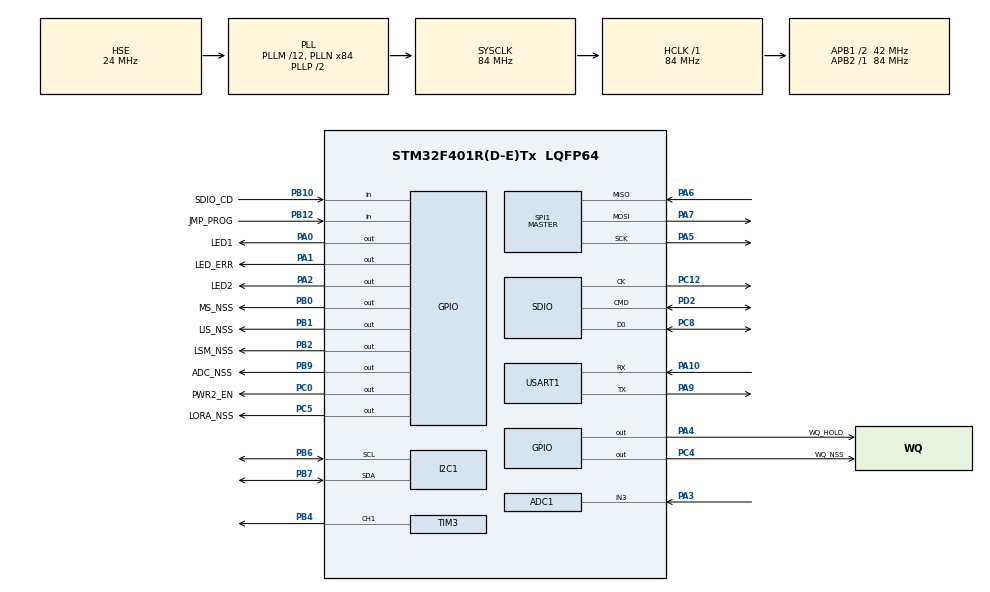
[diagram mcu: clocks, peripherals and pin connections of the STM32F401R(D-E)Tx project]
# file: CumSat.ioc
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ADC1.Channel-0\#ChannelRegularConversion=ADC_CHANNEL_3
ADC1.ContinuousConvMode=DISABLE
ADC1.NbrOfConversionFlag=1
ADC1.Rank-0\#ChannelRegularConversion=1
ADC1.Resolution=ADC_RESOLUTION_8B
ADC1.SamplingTime-0\#ChannelRegularConversion=ADC_SAMPLETIME_3CYCLES
ADC1.master=1
Dma.Request0=SDIO_RX
Dma.Request1=SDIO_TX
Dma.SDIO_RX.0.Direction=DMA_PERIPH_TO_MEMORY
Dma.SDIO_RX.0.FIFOMode=DMA_FIFOMODE_ENABLE
Dma.SDIO_RX.0.FIFOThreshold=DMA_FIFO_THRESHOLD_FULL
Dma.SDIO_RX.0.Instance=DMA2_Stream3
Dma.SDIO_RX.0.MemBurst=DMA_MBURST_INC4
Dma.SDIO_RX.0.MemDataAlignment=DMA_MDATAALIGN_WORD
Dma.SDIO_RX.0.MemInc=DMA_MINC_ENABLE
Dma.SDIO_RX.0.Mode=DMA_PFCTRL
Dma.SDIO_RX.0.PeriphBurst=DMA_PBURST_INC4
Dma.SDIO_RX.0.PeriphDataAlignment=DMA_PDATAALIGN_WORD
Dma.SDIO_RX.0.PeriphInc=DMA_PINC_DISABLE
Dma.SDIO_RX.0.Priority=DMA_PRIORITY_LOW
Dma.SDIO_TX.1.Direction=DMA_MEMORY_TO_PERIPH
Dma.SDIO_TX.1.FIFOMode=DMA_FIFOMODE_ENABLE
Dma.SDIO_TX.1.FIFOThreshold=DMA_FIFO_THRESHOLD_FULL
Dma.SDIO_TX.1.Instance=DMA2_Stream6
Dma.SDIO_TX.1.MemBurst=DMA_MBURST_INC4
Dma.SDIO_TX.1.MemDataAlignment=DMA_MDATAALIGN_WORD
Dma.SDIO_TX.1.MemInc=DMA_MINC_ENABLE
Dma.SDIO_TX.1.Mode=DMA_PFCTRL
Dma.SDIO_TX.1.PeriphBurst=DMA_PBURST_INC4
Dma.SDIO_TX.1.PeriphDataAlignment=DMA_PDATAALIGN_WORD
Dma.SDIO_TX.1.PeriphInc=DMA_PINC_DISABLE
Dma.SDIO_TX.1.Priority=DMA_PRIORITY_LOW
FATFS.BSP.number=1
FATFS.USE_DMA_CODE_SD=1
FATFS._FS_TIMEOUT=1000
FATFS0.BSP.STBoard=false
FATFS0.BSP.api=Unknown
FATFS0.BSP.instance=PB10
FATFS0.BSP.ip=GPIO
FATFS0.BSP.mode=Input
FATFS0.BSP.name=Detect_SDIO
FATFS0.BSP.solution=PB10
Mcu.Family=STM32F4
Mcu.Name=STM32F401R(D-E)Tx
Mcu.Package=LQFP64
NVIC.DMA2_Stream3_IRQn=true\:0\:0\:false\:false\:true\:false\:true\:true
NVIC.DMA2_Stream6_IRQn=true\:0\:0\:false\:false\:true\:false\:true\:true
NVIC.PriorityGroup=NVIC_PRIORITYGROUP_4
NVIC.SDIO_IRQn=true\:0\:0\:false\:false\:true\:true\:true\:true
NVIC.TIM1_TRG_COM_TIM11_IRQn=true\:0\:0\:false\:false\:true\:true\:true\:true
PA0-WKUP.GPIO_Label=LED1
PA0-WKUP.PinState=GPIO_PIN_RESET
PA0-WKUP.Signal=GPIO_Output
PA1.GPIO_Label=LED_ERR
PA1.Signal=GPIO_Output
PA10.Mode=Asynchronous
PA10.Signal=USART1_RX
PA2.GPIO_Label=LED2
PA2.Signal=GPIO_Output
PA3.Signal=ADCx_IN3
PA4.GPIO_Label=WQ_HOLD
PA4.PinState=GPIO_PIN_SET
PA4.Signal=GPIO_Output
PA5.Mode=Full_Duplex_Master
PA5.Signal=SPI1_SCK
PA6.Mode=Full_Duplex_Master
PA6.Signal=SPI1_MISO
PA7.Mode=Full_Duplex_Master
PA7.Signal=SPI1_MOSI
PA9.Mode=Asynchronous
PA9.Signal=USART1_TX
PB0.GPIO_Label=MS_NSS
PB0.GPIO_Speed=GPIO_SPEED_FREQ_VERY_HIGH
PB0.PinState=GPIO_PIN_SET
PB0.Signal=GPIO_Output
PB1.GPIO_Label=LIS_NSS
PB1.GPIO_Speed=GPIO_SPEED_FREQ_VERY_HIGH
PB1.PinState=GPIO_PIN_SET
PB1.Signal=GPIO_Output
PB10.GPIO_Label=SDIO_CD
PB10.Signal=GPIO_Input
PB12.GPIO_Label=JMP_PROG
PB12.Signal=GPIO_Input
PB2.GPIO_Label=LSM_NSS
PB2.GPIO_Speed=GPIO_SPEED_FREQ_VERY_HIGH
PB2.PinState=GPIO_PIN_SET
PB2.Signal=GPIO_Output
PB4.Signal=S_TIM3_CH1
PB6.Mode=I2C
PB6.Signal=I2C1_SCL
PB7.Mode=I2C
PB7.Signal=I2C1_SDA
PB9.GPIO_Label=ADC_NSS
PB9.GPIO_Speed=GPIO_SPEED_FREQ_VERY_HIGH
PB9.PinState=GPIO_PIN_SET
PB9.Signal=GPIO_Output
PC0.GPIO_Label=PWR2_EN
PC0.PinState=GPIO_PIN_SET
PC0.Signal=GPIO_Output
PC12.Mode=SD_1_bit
PC12.Signal=SDIO_CK
PC14-OSC32_IN.Mode=LSE-External-Oscillator
PC14-OSC32_IN.Signal=RCC_OSC32_IN
PC15-OSC32_OUT.Mode=LSE-External-Oscillator
PC15-OSC32_OUT.Signal=RCC_OSC32_OUT
PC4.GPIO_Label=WQ_NSS
PC4.GPIO_Speed=GPIO_SPEED_FREQ_VERY_HIGH
PC4.PinState=GPIO_PIN_SET
PC4.Signal=GPIO_Output
PC5.GPIO_Label=LORA_NSS
PC5.GPIO_Speed=GPIO_SPEED_FREQ_VERY_HIGH
PC5.PinState=GPIO_PIN_SET
PC5.Signal=GPIO_Output
PC8.GPIO_PuPd=GPIO_PULLUP
PC8.Mode=SD_1_bit
PC8.Signal=SDIO_D0
PD2.GPIO_PuPd=GPIO_PULLUP
PD2.Mode=SD_1_bit
PD2.Signal=SDIO_CMD
PH0\ -\ OSC_IN.Mode=HSE-External-Oscillator
PH0\ -\ OSC_IN.Signal=RCC_OSC_IN
PH1\ -\ OSC_OUT.Mode=HSE-External-Oscillator
PH1\ -\ OSC_OUT.Signal=RCC_OSC_OUT
ProjectManager.HeapSize=0x200
ProjectManager.StackSize=0x400
ProjectManager.TargetToolchain=STM32CubeIDE
RCC.48MHZClocksFreq_Value=42000000
RCC.AHBFreq_Value=84000000
RCC.APB1CLKDivider=RCC_HCLK_DIV2
RCC.APB1Freq_Value=42000000
RCC.APB1TimFreq_Value=84000000
RCC.APB2Freq_Value=84000000
RCC.APB2TimFreq_Value=84000000
RCC.CortexFreq_Value=84000000
RCC.HCLKFreq_Value=84000000
RCC.HSE_VALUE=24000000
RCC.HSI_VALUE=16000000
RCC.PLLM=12
RCC.PLLN=84
RCC.PLLSourceVirtual=RCC_PLLSOURCE_HSE
RCC.SYSCLKFreq_VALUE=84000000
RCC.SYSCLKSource=RCC_SYSCLKSOURCE_PLLCLK
RCC.VCOOutputFreq_Value=168000000
SDIO.ClockDiv=6
SDIO.HardwareFlowControl=SDIO_HARDWARE_FLOW_CONTROL_ENABLE
SH.ADCx_IN3.0=ADC1_IN3,IN3
SH.S_TIM3_CH1.0=TIM3_CH1,PWM Generation1 CH1
SPI1.BaudRatePrescaler=SPI_BAUDRATEPRESCALER_16
SPI1.CLKPhase=SPI_PHASE_1EDGE
SPI1.Direction=SPI_DIRECTION_2LINES
SPI1.Mode=SPI_MODE_MASTER
SPI1.VirtualType=VM_MASTER
TIM11.Period=30000
TIM11.Prescaler=8399
TIM3.Channel-PWM\ Generation1\ CH1=TIM_CHANNEL_1
TIM3.Period=999
TIM3.Prescaler=1679
USART1.VirtualMode=VM_ASYNC
VP_FATFS_VS_SDIO.Mode=SDIO
VP_TIM11_VS_ClockSourceINT.Mode=Enable_Timer
VP_TIM11_VS_OPM.Mode=OPM_bit
VP_TIM3_VS_ClockSourceINT.Mode=Internal
board=custom

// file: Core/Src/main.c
/* USER CODE BEGIN Header */
/**
 ******************************************************************************
 * @file           : main.c
 * @brief          : Main program body
 ******************************************************************************
 * @attention
 *
 * Copyright (c) 2024 STMicroelectronics.
 * All rights reserved.
 *
 * This software is licensed under terms that can be found in the LICENSE file
 * in the root directory of this software component.
 * If no LICENSE file comes with this software, it is provided AS-IS.
 *
 ******************************************************************************
 */
/* USER CODE END Header */
#include "main.h"
#include "fatfs.h"

/* USER CODE BEGIN Includes */
#include "MS5611.h"
#include "LIS3.h"
#include "LSM6.h"
#include "LoRa.h"
#include "MicroSD.h"
#include "WQ.h"
#include "Servo.h"
#include "CircularBuffer.h"
#include <math.h>
/* USER CODE END Includes */

ADC_HandleTypeDef hadc1;

I2C_HandleTypeDef hi2c1;

SD_HandleTypeDef hsd;
DMA_HandleTypeDef hdma_sdio_rx;
DMA_HandleTypeDef hdma_sdio_tx;

SPI_HandleTypeDef hspi1;

TIM_HandleTypeDef htim3;
TIM_HandleTypeDef htim11;

UART_HandleTypeDef huart1;

/* USER CODE BEGIN PV */
struct ImuData {
	uint32_t time; //millis from start
	int32_t temp; //MS56 temperature, centigrade*10e2
	uint32_t press; //MS56 pressure, Pa
	float magData[3]; //LIS3 mag, mG
	float accelData[3]; //LSM6, mG
	float gyroData[3]; //LSM6, mdps
	int32_t altitude; //Altitude (zero at start), cm
	uint32_t flags; //Flags, (0|0|0|0|Land|ResSys|Eject|Start)
	uint32_t press0; //MS56 pressure at 0 Alt, Pa
	float vectAbs; //Absolute value of accel vector
	uint32_t wqAdr;
} imuData;

enum states {
	INIT, LORA_WAIT, MAIN, LANDING, DUMP
};

enum states lastState = LANDING;
enum states currentState = INIT;
CircularBuffer *cbPress;
/* USER CODE END PV */

void SystemClock_Config(void);
static void MX_GPIO_Init(void);
static void MX_DMA_Init(void);
static void MX_I2C1_Init(void);
static void MX_SPI1_Init(void);
static void MX_USART1_UART_Init(void);
static void MX_ADC1_Init(void);
static void MX_SDIO_SD_Init(void);
static void MX_TIM3_Init(void);
static void MX_TIM11_Init(void);
/* USER CODE BEGIN PFP */
void StoreVectAbs(struct ImuData *dat);
void ImuGetAll(struct ImuData *imuData);
void ImuSaveAll(struct ImuData *imuData);
void FlashLED(uint16_t led);
void Error(uint8_t errorCode);
/* USER CODE END PFP */

/* USER CODE BEGIN 0 */

void init_state(){
	static uint8_t errorCode = 0;
	HAL_Delay(1000);
	if(currentState != lastState) {
		lastState = currentState;
		if(!MS5611_Init(&hspi1, MS_NSS_GPIO_Port, MS_NSS_Pin)) errorCode = 1;
		if(!LIS3_Init(&hspi1, LIS_NSS_GPIO_Port, LIS_NSS_Pin)) errorCode = 2;
		if(!LSM6_Init(&hspi1, LSM_NSS_GPIO_Port, LSM_NSS_Pin)) errorCode = 3;
		if(!LoRa_Init(&hspi1, LORA_NSS_GPIO_Port, LORA_NSS_Pin)) errorCode = 4;
		if(!microSD_Init()) errorCode = 5;
		if(!WQ_Init(&hspi1, WQ_NSS_GPIO_Port, WQ_NSS_Pin)) errorCode = 6;
		Servo_Init(&htim3, TIM_CHANNEL_1);
		HAL_TIM_Base_Start_IT(&htim11);
		if(!errorCode) { //POST_OK (DOT)
			MS5611_SetOS(MS56_OSR_4096, MS56_OSR_4096);
			LIS3_Config(LIS_CTRL1, LIS_MODE_HP | LIS_ODR_80);
			LIS3_Config(LIS_CTRL2, LIS_SCALE_4);
			LIS3_Config(LIS_CTRL3, LIS_CYCLIC);
			LSM6_ConfigAG(LSM6_ACCEL_16G | LSM6_CFG_12_5_Hz, LSM6_GYRO_2000DPS | LSM6_CFG_12_5_Hz);
			cbPress = CB_Create(PRESS_BUFFER_LEN);
			imuData.wqAdr = 0;
			currentState = LORA_WAIT;
		} else Error(errorCode);
	}

}

void lora_wait_state(){
	static uint8_t rxbuf[1];
	static uint8_t pingFlag = 0;
	if(currentState != lastState) {
		lastState = currentState;
	}

	if(!pingFlag) {
		if(HAL_GetTick() % 300 > 150) FlashLED(LED1_Pin);
		else FlashLED(LED2_Pin);
	} else if(HAL_GetTick() % 500 > 250) FlashLED(LED1_Pin);
	else FlashLED(0);

	if(LoRa_Receive(rxbuf, 1)) {
		if(rxbuf[0] == '0') {
			pingFlag = 1;
			LoRa_Transmit("Ping OK\n", 8);
		}
		if(pingFlag) {
			switch (rxbuf[0]){
				case '1':
					LoRa_Transmit("Starting\n", 9);
					currentState = MAIN;
					break;
				case '2':
					currentState = DUMP;
					LoRa_Transmit("Memory dump\n", 12);
					break;
				case '3':
					LoRa_Transmit("Erase All\n", 10);
					WQ_Chip_Erace();
					microSD_RemoveFile(SD_FILENAME);
					microSD_RemoveFile(SD_FILENAME_WQ);
					LoRa_Transmit("Done\n", 5);
					break;
				case '4':
					LoRa_Transmit("RS Test\n", 8);
					Servo_SetAngle(RS_ANGLE);
					HAL_TIM_Base_Start_IT(&htim11);
					break;
				default:
					break;
			}
		}
	}
}

void main_state(){
	if(currentState != lastState) {
		lastState = currentState;
		for(uint8_t i = 0; i < 10; i++) {
			MS5611_Read(&imuData.temp, &imuData.press0); //Skip 10 measurements aka cold start
			HAL_Delay(50);
		}
		MS5611_Read(&imuData.temp, &imuData.press0); //press0 for height zero level
		StoreVectAbs(&imuData);
		imuData.time = HAL_GetTick();
	}

	if(HAL_GetTick() - imuData.time >= DATA_PERIOD) {
		HAL_ADC_Start(&hadc1);
		ImuGetAll(&imuData);

		if(imuData.altitude > START_TH) bitSet(imuData.flags, 0); //Start flag
		if(bitRead(imuData.flags, 0) && ADC1->DR < EJECT_TH) bitSet(imuData.flags, 1); //Eject flag

		if(bitRead(imuData.flags, 1) && !bitRead(imuData.flags, 2) && (imuData.altitude <= RS_EJC_HEIGHT)) {
			bitSet(imuData.flags, 2); //ResSys flag
			Servo_SetAngle(RS_ANGLE);
			HAL_TIM_Base_Start_IT(&htim11);
		}

		if(bitRead(imuData.flags, 2)) {
			CB_Add(cbPress, imuData.press);
			if(CB_Diff(cbPress) < PRESS_LAND_DELTA) {
				bitSet(imuData.flags, 3); //Land flag
				currentState = LANDING;
			}
		}
		ImuSaveAll(&imuData);
	}
}

void landing_state(){
	if(currentState != lastState) {
		lastState = currentState;
		imuData.time = HAL_GetTick();
		Servo_SetAngle(0);
	}
	if(HAL_GetTick() - imuData.time >= DATA_PERIOD_LND) {
		ImuGetAll(&imuData);
		ImuSaveAll(&imuData);
	}
	//POST Iterate landing
}

void dump_state(){
	if(currentState != lastState) {
		lastState = currentState;
	}
	uint8_t buf[FRAME_SIZE];
	for(uint32_t addr = 0; addr < 0xFFFFFF; addr += FRAME_SIZE) {
		FlashLED(LED2_Pin);
		WQ_Read(addr, buf, FRAME_SIZE);
		if(buf[0] == 0xFF && buf[1] == 0xFF && buf[2] == 0xFF && buf[3] == 0xFF) break;
		LoRa_Transmit(buf, FRAME_SIZE);
		FlashLED(LED1_Pin);
		if(microSD_Write(buf, FRAME_SIZE, SD_FILENAME_WQ) != FR_OK) {
			FlashLED(LED_ERR_Pin);
			HAL_Delay(1000);
		}
	}
	LoRa_Transmit("Done\n", 5);
	currentState = LORA_WAIT;
}

void StoreVectAbs(struct ImuData *dat){
	dat->vectAbs = 0;
	for(uint8_t i = 0; i < 3; i++)
		dat->vectAbs += dat->accelData[i] * dat->accelData[i];
	dat->vectAbs = sqrt(dat->vectAbs);
}

void ImuGetAll(struct ImuData *imuData){
	imuData->time = HAL_GetTick();
	MS5611_Read(&imuData->temp, &imuData->press);
	LIS3_Read(imuData->magData);
	LSM6_Read(imuData->accelData, imuData->gyroData);
	StoreVectAbs(imuData);
	imuData->altitude = MS5611_GetAltitude(&imuData->press, &imuData->press0);
}

void ImuSaveAll(struct ImuData *imuData){
	FlashLED(LED2_Pin);
	LoRa_Transmit(imuData, FRAME_SIZE);
	WQ_Write(imuData->wqAdr, imuData, FRAME_SIZE);
	imuData->wqAdr += FRAME_SIZE;
	FlashLED(LED1_Pin);
	if(microSD_Write(imuData, FRAME_SIZE, SD_FILENAME) != FR_OK) {
		FlashLED(LED_ERR_Pin);
		MX_SDIO_SD_Init();
		MX_FATFS_Init();
		microSD_Init();
	}
	FlashLED(0);
}

void FlashLED(uint16_t led){
	LED1_GPIO_Port->ODR &= ~LED1_Pin;
	LED2_GPIO_Port->ODR &= ~LED2_Pin;
	LED_ERR_GPIO_Port->ODR &= ~LED_ERR_Pin;
//@formatter:off
	switch (led){
		case LED1_Pin: LED1_GPIO_Port->ODR |= LED1_Pin; break;
		case LED2_Pin: LED2_GPIO_Port->ODR |= LED2_Pin; break;
		case LED_ERR_Pin: LED_ERR_GPIO_Port->ODR |= LED_ERR_Pin; break;
		default: break;
	}}
//@formatter:on

void HAL_TIM_PeriodElapsedCallback(TIM_HandleTypeDef *htim){
	if(htim->Instance == TIM11){
		HAL_TIM_Base_Stop(&htim11);
		htim11.Instance->CNT=0;
		Servo_SetAngle(0);
	}
}

void Error(uint8_t errCode){
	while(1) {
		for(uint8_t i = 0; i < errCode; i++) {
			FlashLED(LED_ERR_Pin);
			HAL_Delay(200);
			FlashLED(0);
			HAL_Delay(200);
		}
		HAL_Delay(500);
	}
}
/* USER CODE END 0 */

int main(void)
{

  /* MCU Configuration--------------------------------------------------------*/

  /* Reset of all peripherals, Initializes the Flash interface and the Systick. */
  HAL_Init();

  /* Configure the system clock */
  SystemClock_Config();

  /* Initialize all configured peripherals */
  MX_GPIO_Init();
  MX_DMA_Init();
  MX_I2C1_Init();
  MX_SPI1_Init();
  MX_USART1_UART_Init();
  MX_ADC1_Init();
  MX_SDIO_SD_Init();
  MX_FATFS_Init();
  MX_TIM3_Init();
  MX_TIM11_Init();

  /* Infinite loop */
	while(1) {

    /* USER CODE BEGIN 3 */
		switch (currentState){
			case INIT:
				init_state();
				break;
			case LORA_WAIT:
				lora_wait_state();
				break;
			case MAIN:
				main_state();
				break;
			case LANDING:
				landing_state();
				break;
			case DUMP:
				dump_state();
			default:
				break;
		}
	}
  /* USER CODE END 3 */
}

void SystemClock_Config(void)
{
  RCC_OscInitTypeDef RCC_OscInitStruct = {0};
  RCC_ClkInitTypeDef RCC_ClkInitStruct = {0};

  /** Configure the main internal regulator output voltage
  */
  __HAL_RCC_PWR_CLK_ENABLE();
  __HAL_PWR_VOLTAGESCALING_CONFIG(PWR_REGULATOR_VOLTAGE_SCALE2);

  /** Initializes the RCC Oscillators according to the specified parameters
  * in the RCC_OscInitTypeDef structure.
  */
  RCC_OscInitStruct.OscillatorType = RCC_OSCILLATORTYPE_HSE;
  RCC_OscInitStruct.HSEState = RCC_HSE_ON;
  RCC_OscInitStruct.PLL.PLLState = RCC_PLL_ON;
  RCC_OscInitStruct.PLL.PLLSource = RCC_PLLSOURCE_HSE;
  RCC_OscInitStruct.PLL.PLLM = 12;
  RCC_OscInitStruct.PLL.PLLN = 84;
  RCC_OscInitStruct.PLL.PLLP = RCC_PLLP_DIV2;
  RCC_OscInitStruct.PLL.PLLQ = 4;
  if (HAL_RCC_OscConfig(&RCC_OscInitStruct) != HAL_OK)
  {
    Error_Handler();
  }

  /** Initializes the CPU, AHB and APB buses clocks
  */
  RCC_ClkInitStruct.ClockType = RCC_CLOCKTYPE_HCLK|RCC_CLOCKTYPE_SYSCLK
                              |RCC_CLOCKTYPE_PCLK1|RCC_CLOCKTYPE_PCLK2;
  RCC_ClkInitStruct.SYSCLKSource = RCC_SYSCLKSOURCE_PLLCLK;
  RCC_ClkInitStruct.AHBCLKDivider = RCC_SYSCLK_DIV1;
  RCC_ClkInitStruct.APB1CLKDivider = RCC_HCLK_DIV2;
  RCC_ClkInitStruct.APB2CLKDivider = RCC_HCLK_DIV1;

  if (HAL_RCC_ClockConfig(&RCC_ClkInitStruct, FLASH_LATENCY_2) != HAL_OK)
  {
    Error_Handler();
  }
}

static void MX_ADC1_Init(void)
{

  ADC_ChannelConfTypeDef sConfig = {0};

  /** Configure the global features of the ADC (Clock, Resolution, Data Alignment and number of conversion)
  */
  hadc1.Instance = ADC1;
  hadc1.Init.ClockPrescaler = ADC_CLOCK_SYNC_PCLK_DIV4;
  hadc1.Init.Resolution = ADC_RESOLUTION_8B;
  hadc1.Init.ScanConvMode = DISABLE;
  hadc1.Init.ContinuousConvMode = DISABLE;
  hadc1.Init.DiscontinuousConvMode = DISABLE;
  hadc1.Init.ExternalTrigConvEdge = ADC_EXTERNALTRIGCONVEDGE_NONE;
  hadc1.Init.ExternalTrigConv = ADC_SOFTWARE_START;
  hadc1.Init.DataAlign = ADC_DATAALIGN_RIGHT;
  hadc1.Init.NbrOfConversion = 1;
  hadc1.Init.DMAContinuousRequests = DISABLE;
  hadc1.Init.EOCSelection = ADC_EOC_SINGLE_CONV;
  if (HAL_ADC_Init(&hadc1) != HAL_OK)
  {
    Error_Handler();
  }

  /** Configure for the selected ADC regular channel its corresponding rank in the sequencer and its sample time.
  */
  sConfig.Channel = ADC_CHANNEL_3;
  sConfig.Rank = 1;
  sConfig.SamplingTime = ADC_SAMPLETIME_3CYCLES;
  if (HAL_ADC_ConfigChannel(&hadc1, &sConfig) != HAL_OK)
  {
    Error_Handler();
  }

}

static void MX_I2C1_Init(void)
{

  hi2c1.Instance = I2C1;
  hi2c1.Init.ClockSpeed = 100000;
  hi2c1.Init.DutyCycle = I2C_DUTYCYCLE_2;
  hi2c1.Init.OwnAddress1 = 0;
  hi2c1.Init.AddressingMode = I2C_ADDRESSINGMODE_7BIT;
  hi2c1.Init.DualAddressMode = I2C_DUALADDRESS_DISABLE;
  hi2c1.Init.OwnAddress2 = 0;
  hi2c1.Init.GeneralCallMode = I2C_GENERALCALL_DISABLE;
  hi2c1.Init.NoStretchMode = I2C_NOSTRETCH_DISABLE;
  if (HAL_I2C_Init(&hi2c1) != HAL_OK)
  {
    Error_Handler();
  }

}

static void MX_SDIO_SD_Init(void)
{

  hsd.Instance = SDIO;
  hsd.Init.ClockEdge = SDIO_CLOCK_EDGE_RISING;
  hsd.Init.ClockBypass = SDIO_CLOCK_BYPASS_DISABLE;
  hsd.Init.ClockPowerSave = SDIO_CLOCK_POWER_SAVE_DISABLE;
  hsd.Init.BusWide = SDIO_BUS_WIDE_1B;
  hsd.Init.HardwareFlowControl = SDIO_HARDWARE_FLOW_CONTROL_ENABLE;
  hsd.Init.ClockDiv = 6;

}

static void MX_SPI1_Init(void)
{

  /* SPI1 parameter configuration*/
  hspi1.Instance = SPI1;
  hspi1.Init.Mode = SPI_MODE_MASTER;
  hspi1.Init.Direction = SPI_DIRECTION_2LINES;
  hspi1.Init.DataSize = SPI_DATASIZE_8BIT;
  hspi1.Init.CLKPolarity = SPI_POLARITY_LOW;
  hspi1.Init.CLKPhase = SPI_PHASE_1EDGE;
  hspi1.Init.NSS = SPI_NSS_SOFT;
  hspi1.Init.BaudRatePrescaler = SPI_BAUDRATEPRESCALER_16;
  hspi1.Init.FirstBit = SPI_FIRSTBIT_MSB;
  hspi1.Init.TIMode = SPI_TIMODE_DISABLE;
  hspi1.Init.CRCCalculation = SPI_CRCCALCULATION_DISABLE;
  hspi1.Init.CRCPolynomial = 10;
  if (HAL_SPI_Init(&hspi1) != HAL_OK)
  {
    Error_Handler();
  }

}

static void MX_TIM3_Init(void)
{

  TIM_ClockConfigTypeDef sClockSourceConfig = {0};
  TIM_MasterConfigTypeDef sMasterConfig = {0};
  TIM_OC_InitTypeDef sConfigOC = {0};

  htim3.Instance = TIM3;
  htim3.Init.Prescaler = 1679;
  htim3.Init.CounterMode = TIM_COUNTERMODE_UP;
  htim3.Init.Period = 999;
  htim3.Init.ClockDivision = TIM_CLOCKDIVISION_DIV1;
  htim3.Init.AutoReloadPreload = TIM_AUTORELOAD_PRELOAD_DISABLE;
  if (HAL_TIM_Base_Init(&htim3) != HAL_OK)
  {
    Error_Handler();
  }
  sClockSourceConfig.ClockSource = TIM_CLOCKSOURCE_INTERNAL;
  if (HAL_TIM_ConfigClockSource(&htim3, &sClockSourceConfig) != HAL_OK)
  {
    Error_Handler();
  }
  if (HAL_TIM_PWM_Init(&htim3) != HAL_OK)
  {
    Error_Handler();
  }
  sMasterConfig.MasterOutputTrigger = TIM_TRGO_RESET;
  sMasterConfig.MasterSlaveMode = TIM_MASTERSLAVEMODE_DISABLE;
  if (HAL_TIMEx_MasterConfigSynchronization(&htim3, &sMasterConfig) != HAL_OK)
  {
    Error_Handler();
  }
  sConfigOC.OCMode = TIM_OCMODE_PWM1;
  sConfigOC.Pulse = 0;
  sConfigOC.OCPolarity = TIM_OCPOLARITY_HIGH;
  sConfigOC.OCFastMode = TIM_OCFAST_DISABLE;
  if (HAL_TIM_PWM_ConfigChannel(&htim3, &sConfigOC, TIM_CHANNEL_1) != HAL_OK)
  {
    Error_Handler();
  }
  HAL_TIM_MspPostInit(&htim3);

}

static void MX_TIM11_Init(void)
{

  htim11.Instance = TIM11;
  htim11.Init.Prescaler = 8399;
  htim11.Init.CounterMode = TIM_COUNTERMODE_UP;
  htim11.Init.Period = 30000;
  htim11.Init.ClockDivision = TIM_CLOCKDIVISION_DIV1;
  htim11.Init.AutoReloadPreload = TIM_AUTORELOAD_PRELOAD_DISABLE;
  if (HAL_TIM_Base_Init(&htim11) != HAL_OK)
  {
    Error_Handler();
  }
  if (HAL_TIM_OnePulse_Init(&htim11, TIM_OPMODE_SINGLE) != HAL_OK)
  {
    Error_Handler();
  }

}

static void MX_USART1_UART_Init(void)
{

  huart1.Instance = USART1;
  huart1.Init.BaudRate = 115200;
  huart1.Init.WordLength = UART_WORDLENGTH_8B;
  huart1.Init.StopBits = UART_STOPBITS_1;
  huart1.Init.Parity = UART_PARITY_NONE;
  huart1.Init.Mode = UART_MODE_TX_RX;
  huart1.Init.HwFlowCtl = UART_HWCONTROL_NONE;
  huart1.Init.OverSampling = UART_OVERSAMPLING_16;
  if (HAL_UART_Init(&huart1) != HAL_OK)
  {
    Error_Handler();
  }

}

static void MX_DMA_Init(void)
{

  /* DMA controller clock enable */
  __HAL_RCC_DMA2_CLK_ENABLE();

  /* DMA interrupt init */
  /* DMA2_Stream3_IRQn interrupt configuration */
  HAL_NVIC_SetPriority(DMA2_Stream3_IRQn, 0, 0);
  HAL_NVIC_EnableIRQ(DMA2_Stream3_IRQn);
  /* DMA2_Stream6_IRQn interrupt configuration */
  HAL_NVIC_SetPriority(DMA2_Stream6_IRQn, 0, 0);
  HAL_NVIC_EnableIRQ(DMA2_Stream6_IRQn);

}

static void MX_GPIO_Init(void)
{
  GPIO_InitTypeDef GPIO_InitStruct = {0};

  /* GPIO Ports Clock Enable */
  __HAL_RCC_GPIOC_CLK_ENABLE();
  __HAL_RCC_GPIOH_CLK_ENABLE();
  __HAL_RCC_GPIOA_CLK_ENABLE();
  __HAL_RCC_GPIOB_CLK_ENABLE();
  __HAL_RCC_GPIOD_CLK_ENABLE();

  /*Configure GPIO pin Output Level */
  HAL_GPIO_WritePin(GPIOC, PWR2_EN_Pin|WQ_NSS_Pin|LORA_NSS_Pin, GPIO_PIN_SET);

  /*Configure GPIO pin Output Level */
  HAL_GPIO_WritePin(GPIOA, LED1_Pin|LED_ERR_Pin|LED2_Pin, GPIO_PIN_RESET);

  /*Configure GPIO pin Output Level */
  HAL_GPIO_WritePin(WQ_HOLD_GPIO_Port, WQ_HOLD_Pin, GPIO_PIN_SET);

  /*Configure GPIO pin Output Level */
  HAL_GPIO_WritePin(GPIOB, MS_NSS_Pin|LIS_NSS_Pin|LSM_NSS_Pin|ADC_NSS_Pin, GPIO_PIN_SET);

  /*Configure GPIO pin : PWR2_EN_Pin */
  GPIO_InitStruct.Pin = PWR2_EN_Pin;
  GPIO_InitStruct.Mode = GPIO_MODE_OUTPUT_PP;
  GPIO_InitStruct.Pull = GPIO_NOPULL;
  GPIO_InitStruct.Speed = GPIO_SPEED_FREQ_LOW;
  HAL_GPIO_Init(PWR2_EN_GPIO_Port, &GPIO_InitStruct);

  /*Configure GPIO pins : LED1_Pin LED_ERR_Pin LED2_Pin WQ_HOLD_Pin */
  GPIO_InitStruct.Pin = LED1_Pin|LED_ERR_Pin|LED2_Pin|WQ_HOLD_Pin;
  GPIO_InitStruct.Mode = GPIO_MODE_OUTPUT_PP;
  GPIO_InitStruct.Pull = GPIO_NOPULL;
  GPIO_InitStruct.Speed = GPIO_SPEED_FREQ_LOW;
  HAL_GPIO_Init(GPIOA, &GPIO_InitStruct);

  /*Configure GPIO pins : WQ_NSS_Pin LORA_NSS_Pin */
  GPIO_InitStruct.Pin = WQ_NSS_Pin|LORA_NSS_Pin;
  GPIO_InitStruct.Mode = GPIO_MODE_OUTPUT_PP;
  GPIO_InitStruct.Pull = GPIO_NOPULL;
  GPIO_InitStruct.Speed = GPIO_SPEED_FREQ_VERY_HIGH;
  HAL_GPIO_Init(GPIOC, &GPIO_InitStruct);

  /*Configure GPIO pins : MS_NSS_Pin LIS_NSS_Pin LSM_NSS_Pin ADC_NSS_Pin */
  GPIO_InitStruct.Pin = MS_NSS_Pin|LIS_NSS_Pin|LSM_NSS_Pin|ADC_NSS_Pin;
  GPIO_InitStruct.Mode = GPIO_MODE_OUTPUT_PP;
  GPIO_InitStruct.Pull = GPIO_NOPULL;
  GPIO_InitStruct.Speed = GPIO_SPEED_FREQ_VERY_HIGH;
  HAL_GPIO_Init(GPIOB, &GPIO_InitStruct);

  /*Configure GPIO pins : SDIO_CD_Pin JMP_PROG_Pin */
  GPIO_InitStruct.Pin = SDIO_CD_Pin|JMP_PROG_Pin;
  GPIO_InitStruct.Mode = GPIO_MODE_INPUT;
  GPIO_InitStruct.Pull = GPIO_NOPULL;
  HAL_GPIO_Init(GPIOB, &GPIO_InitStruct);

}

void Error_Handler(void)
{
  /* USER CODE BEGIN Error_Handler_Debug */
	/* User can add his own implementation to report the HAL error return state */
	__disable_irq();

	while(1);
  /* USER CODE END Error_Handler_Debug */
}
